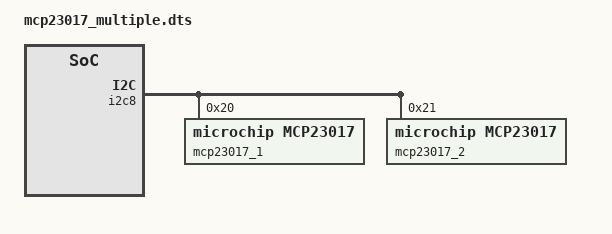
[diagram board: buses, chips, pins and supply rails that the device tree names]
/* SPDX-License-Identifier: MIT */

/* This example overlay describes two daisy-chained MCP23017 GPIO extenders
 * connected to the ROCKPro64's I2C pins on its pin header.
 * Refer to mcp23017.dts for more information.
 */

/dts-v1/;
/plugin/;

&i2c8 {
	#address-cells = <1>;
	#size-cells = <0>;
	status = "okay";

	mcp23017_1: mcp23017@20 {			/* New child node with label "mcp23017_1", I2C address 0x20 */
		compatible = "microchip,mcp23017";	/* Identifier for kernel to know what driver to load */
		reg = <0x20>;				/* Describe the I2C address as being 0x20 */
		gpio-controller;
		#gpio-cells = <2>;
	};

	mcp23017_2: mcp23017@21 {			/* New child node with label "mcp23017_2", I2C address 0x21 */
		compatible = "microchip,mcp23017";	/* Identifier for kernel to know what driver to load */
		reg = <0x21>;				/* Describe the I2C address as being 0x21 */
		gpio-controller;
		#gpio-cells = <2>;
	};
};
